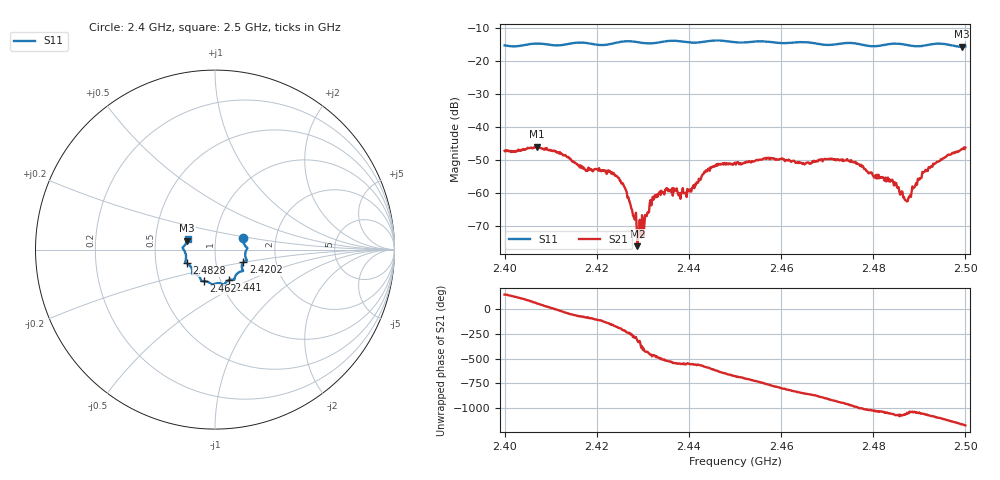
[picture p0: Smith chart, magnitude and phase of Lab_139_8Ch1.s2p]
# Hz S RI R 50
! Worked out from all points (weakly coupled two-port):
!   601 points, 2.4 GHz to 2.5 GHz, reference 50 ohm
!   highest |S21| = -46.05 dB at 2.407 GHz (marker M1); lowest = -76.2 dB at 2.4288 GHz (marker M2)
!   lowest |S11| = -15.8 dB at 2.4992 GHz (marker M3), VSWR 1.39, Z = 36.5 + j3.67 ohm
!   |S11| at or under -10 dB: start of sweep to end of sweep
!   S12 and S22 are empty: the file has one direction only
!   S11 on the Smith chart (normalised r, x): 2.4 GHz: 1.36, +0.17; 2.4202 GHz: 1.36, -0.20; 2.441 GHz: 1.10, -0.39; 2.462 GHz: 0.83, -0.30; 2.4828 GHz: 0.72, -0.11; 2.5 GHz: 0.73, +0.09
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2.4e9  0.158 0.0624  -0.00373 0.00215  0 0  0 0
2.407e9  0.181 0.00946  0.00254 0.00429  0 0  0 0
2.416667e9  0.1772 -0.0609  0.000681 -0.0023  0 0  0 0
2.420167e9  0.1582 -0.0711  -0.000658 -0.00218  0 0  0 0
2.425333e9  0.1551 -0.1154  -0.00133 0.000378  0 0  0 0
2.428833e9  0.1469 -0.1208  0.000118 0.000101  0 0  0 0
2.429167e9  0.1441 -0.1215  0.000194 0.000158  0 0  0 0
2.43e9  0.1363 -0.1246  0.000203 -0.000238  0 0  0 0
2.432e9  0.1182 -0.139  -0.000348 -0.000694  0 0  0 0
2.433333e9  0.1114 -0.151  -0.000599 -0.000759  0 0  0 0
2.441e9  0.0785 -0.1698  -0.00123 0.00044  0 0  0 0
2.445167e9  0.0518 -0.1936  -0.00105 0.00227  0 0  0 0
2.45e9  0.0281 -0.1877  0.00208 0.00195  0 0  0 0
2.462e9  -0.0609 -0.1756  -0.000571 -0.00298  0 0  0 0
2.466667e9  -0.0788 -0.1682  -0.00236 -0.00161  0 0  0 0
2.474833e9  -0.1275 -0.1342  -0.00106 0.00285  0 0  0 0
2.482833e9  -0.1573 -0.0765  0.00127 0.000765  0 0  0 0
2.483333e9  -0.1605 -0.0753  0.00134 0.000667  0 0  0 0
2.487333e9  -0.1627 -0.0568  0.000628 0.000389  0 0  0 0
2.491167e9  -0.1687 -0.0097  0.00196 0.000721  0 0  0 0
2.499167e9  -0.1545 0.049  0.000437 -0.00453  0 0  0 0
2.5e9  -0.152 0.061  -0.000555 -0.00481  0 0  0 0
